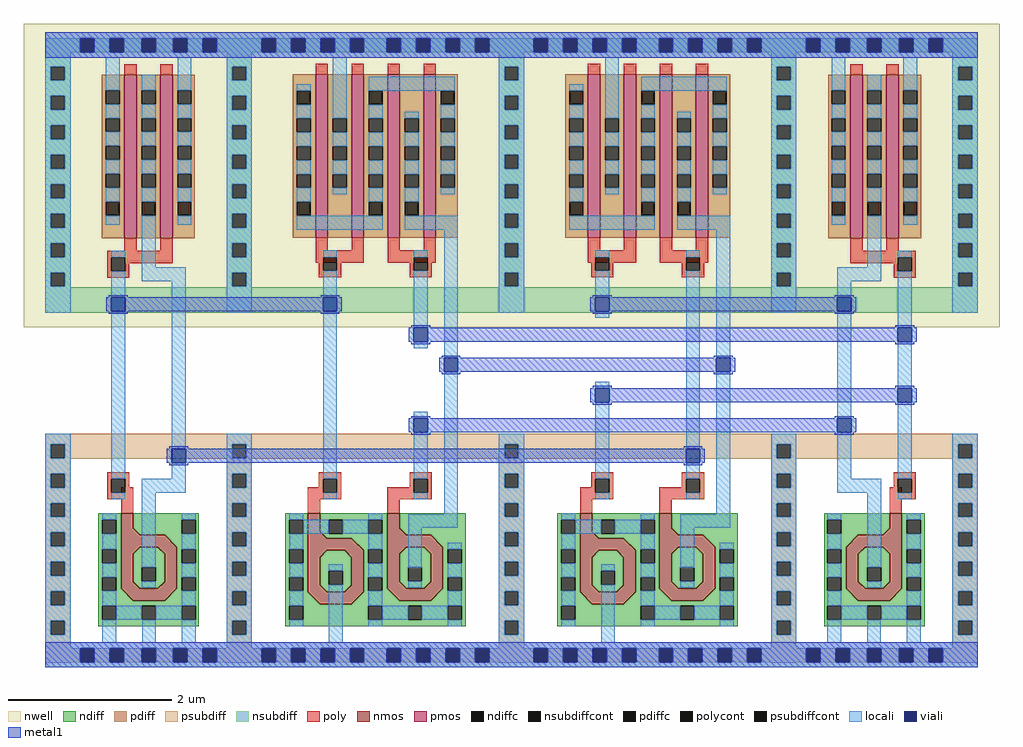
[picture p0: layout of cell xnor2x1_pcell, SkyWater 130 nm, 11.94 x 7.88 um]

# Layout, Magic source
magic
tech sky130A
magscale 1 2
<< nwell >>
rect 528 1554 1026 1575
rect 1194 1554 1692 1575
rect 475 1492 1079 1554
rect 1141 1492 1745 1554
rect 528 1486 1026 1492
rect 528 1015 539 1486
rect 585 1377 619 1411
rect 1015 1015 1026 1486
rect 528 832 1026 1015
rect 1194 1487 1692 1492
rect 1194 1015 1205 1487
rect 1681 1015 1692 1487
rect 1194 832 1692 1015
<< pdiffc >>
rect 585 1377 619 1411
rect 761 1377 795 1411
rect 937 1377 971 1411
rect 1251 1377 1285 1411
rect 1427 1377 1461 1411
rect 1603 1377 1637 1411
rect 585 1105 619 1139
rect 761 1105 795 1139
rect 849 1105 883 1139
rect 1251 1105 1285 1139
rect 1427 1105 1461 1139
rect 1515 1105 1549 1139
<< psubdiff >>
rect 475 510 1079 572
rect 1141 510 1745 572
rect 475 13 499 47
rect 533 13 571 47
rect 605 13 643 47
rect 677 13 715 47
rect 749 13 805 47
rect 839 13 877 47
rect 911 13 949 47
rect 983 13 1021 47
rect 1055 13 1079 47
rect 1141 13 1165 47
rect 1199 13 1237 47
rect 1271 13 1309 47
rect 1343 13 1381 47
rect 1415 13 1471 47
rect 1505 13 1543 47
rect 1577 13 1615 47
rect 1649 13 1687 47
rect 1721 13 1745 47
<< nsubdiff >>
rect 475 1505 499 1539
rect 533 1505 571 1539
rect 605 1505 643 1539
rect 677 1505 715 1539
rect 749 1505 805 1539
rect 839 1505 877 1539
rect 911 1505 949 1539
rect 983 1505 1021 1539
rect 1055 1505 1079 1539
rect 1141 1505 1165 1539
rect 1199 1505 1237 1539
rect 1271 1505 1309 1539
rect 1343 1505 1381 1539
rect 1415 1505 1471 1539
rect 1505 1505 1543 1539
rect 1577 1505 1615 1539
rect 1649 1505 1687 1539
rect 1721 1505 1745 1539
rect 475 868 1079 930
rect 1141 868 1745 930
<< psubdiffcont >>
rect 499 13 533 47
rect 571 13 605 47
rect 643 13 677 47
rect 715 13 749 47
rect 805 13 839 47
rect 877 13 911 47
rect 949 13 983 47
rect 1021 13 1055 47
rect 1165 13 1199 47
rect 1237 13 1271 47
rect 1309 13 1343 47
rect 1381 13 1415 47
rect 1471 13 1505 47
rect 1543 13 1577 47
rect 1615 13 1649 47
rect 1687 13 1721 47
<< nsubdiffcont >>
rect 499 1505 533 1539
rect 571 1505 605 1539
rect 643 1505 677 1539
rect 715 1505 749 1539
rect 805 1505 839 1539
rect 877 1505 911 1539
rect 949 1505 983 1539
rect 1021 1505 1055 1539
rect 1165 1505 1199 1539
rect 1237 1505 1271 1539
rect 1309 1505 1343 1539
rect 1381 1505 1415 1539
rect 1471 1505 1505 1539
rect 1543 1505 1577 1539
rect 1615 1505 1649 1539
rect 1687 1505 1721 1539
<< poly >>
rect 612 411 639 441
rect 806 411 861 441
rect 1278 411 1305 441
rect 1472 411 1527 441
rect 612 403 642 411
rect 806 410 836 411
rect 1278 403 1308 411
rect 1472 410 1502 411
<< locali >>
rect 475 1539 1079 1554
rect 475 1505 499 1539
rect 533 1505 571 1539
rect 605 1505 643 1539
rect 677 1505 715 1539
rect 749 1505 805 1539
rect 839 1505 877 1539
rect 911 1505 949 1539
rect 983 1505 1021 1539
rect 1055 1505 1079 1539
rect 475 1492 1079 1505
rect 1141 1539 1745 1554
rect 1141 1505 1165 1539
rect 1199 1505 1237 1539
rect 1271 1505 1309 1539
rect 1343 1505 1381 1539
rect 1415 1505 1471 1539
rect 1505 1505 1543 1539
rect 1577 1505 1615 1539
rect 1649 1505 1687 1539
rect 1721 1505 1745 1539
rect 1141 1492 1745 1505
rect 585 1411 619 1427
rect 585 1359 619 1377
rect 673 1359 707 1492
rect 761 1411 971 1445
rect 761 1359 795 1377
rect 937 1359 971 1377
rect 1251 1411 1285 1427
rect 1251 1359 1285 1377
rect 1339 1359 1373 1492
rect 1427 1411 1637 1445
rect 1427 1359 1461 1377
rect 1603 1359 1637 1377
rect 585 1139 619 1157
rect 761 1139 795 1157
rect 585 1071 795 1105
rect 849 1139 883 1157
rect 1251 1139 1285 1157
rect 1427 1139 1461 1157
rect 849 1071 979 1105
rect 1251 1071 1461 1105
rect 1515 1139 1549 1157
rect 1515 1071 1645 1105
rect 649 475 683 954
rect 871 847 905 954
rect 871 477 905 617
rect 945 375 979 1071
rect 1315 905 1349 954
rect 1315 472 1349 634
rect 1537 476 1571 954
rect 1611 375 1645 1071
rect 857 341 979 375
rect 1523 341 1645 375
rect 857 244 891 341
rect 1523 244 1557 341
rect 663 62 697 202
rect 1329 62 1363 202
rect 475 47 1079 62
rect 475 13 499 47
rect 533 13 571 47
rect 605 13 643 47
rect 677 13 715 47
rect 749 13 805 47
rect 839 13 877 47
rect 911 13 949 47
rect 983 13 1021 47
rect 1055 13 1079 47
rect 475 0 1079 13
rect 1141 47 1745 62
rect 1141 13 1165 47
rect 1199 13 1237 47
rect 1271 13 1309 47
rect 1343 13 1381 47
rect 1415 13 1471 47
rect 1505 13 1543 47
rect 1577 13 1615 47
rect 1649 13 1687 47
rect 1721 13 1745 47
rect 1141 0 1745 13
<< viali >>
rect 499 1505 533 1539
rect 571 1505 605 1539
rect 643 1505 677 1539
rect 715 1505 749 1539
rect 805 1505 839 1539
rect 877 1505 911 1539
rect 949 1505 983 1539
rect 1021 1505 1055 1539
rect 1165 1505 1199 1539
rect 1237 1505 1271 1539
rect 1309 1505 1343 1539
rect 1381 1505 1415 1539
rect 1471 1505 1505 1539
rect 1543 1505 1577 1539
rect 1615 1505 1649 1539
rect 1687 1505 1721 1539
rect 499 13 533 47
rect 571 13 605 47
rect 643 13 677 47
rect 715 13 749 47
rect 805 13 839 47
rect 877 13 911 47
rect 949 13 983 47
rect 1021 13 1055 47
rect 1165 13 1199 47
rect 1237 13 1271 47
rect 1309 13 1343 47
rect 1381 13 1415 47
rect 1471 13 1505 47
rect 1543 13 1577 47
rect 1615 13 1649 47
rect 1687 13 1721 47
<< metal1 >>
rect 475 1539 1079 1554
rect 475 1505 499 1539
rect 533 1505 571 1539
rect 605 1505 643 1539
rect 677 1505 715 1539
rect 749 1505 805 1539
rect 839 1505 877 1539
rect 911 1505 949 1539
rect 983 1505 1021 1539
rect 1055 1505 1079 1539
rect 475 1492 1079 1505
rect 1141 1539 1745 1554
rect 1141 1505 1165 1539
rect 1199 1505 1237 1539
rect 1271 1505 1309 1539
rect 1343 1505 1381 1539
rect 1415 1505 1471 1539
rect 1505 1505 1543 1539
rect 1577 1505 1615 1539
rect 1649 1505 1687 1539
rect 1721 1505 1745 1539
rect 1141 1492 1745 1505
rect 187 871 623 905
rect 1368 871 1905 905
rect 939 797 2022 831
rect 981 723 1586 757
rect 1372 649 2053 683
rect 905 575 1882 609
rect 315 501 1512 535
rect 475 47 1079 62
rect 475 13 499 47
rect 533 13 571 47
rect 605 13 643 47
rect 677 13 715 47
rect 749 13 805 47
rect 839 13 877 47
rect 911 13 949 47
rect 983 13 1021 47
rect 1055 13 1079 47
rect 475 0 1079 13
rect 1141 47 1745 62
rect 1141 13 1165 47
rect 1199 13 1237 47
rect 1271 13 1309 47
rect 1343 13 1381 47
rect 1415 13 1471 47
rect 1505 13 1543 47
rect 1577 13 1615 47
rect 1649 13 1687 47
rect 1721 13 1745 47
rect 1141 0 1745 13
use li1_M1_contact  li1_M1_contact_4
transform -1 0 296 0 -1 518
box -53 -33 29 33
use li1_M1_contact  li1_M1_contact_1
transform -1 0 148 0 -1 888
box -53 -33 29 33
use invx1_pcell  invx1_pcell_0
transform 1 0 0 0 1 0
box -84 0 528 1575
use diff_ring_side  diff_ring_side_1
transform 1 0 444 0 1 0
box -84 0 84 1575
use poly_li1_contact  poly_li1_contact_0
transform 0 1 667 -1 0 988
box -32 -28 34 26
use poly_li1_contact  poly_li1_contact_1
transform 0 1 667 -1 0 445
box -32 -28 34 26
use nmos_top_trim1  nmos_top_trim1_0
transform -1 0 998 0 1 101
box 0 0 248 309
use nmos_bottom  nmos_bottom_0
transform -1 0 804 0 1 101
box 0 0 248 302
use pmos2_1  pmos2_1_0
transform 1 0 487 0 1 1450
box 52 -460 352 37
use pmos2_1  pmos2_1_1
transform 1 0 663 0 1 1450
box 52 -460 352 37
use li1_M1_contact  li1_M1_contact_0
transform 1 0 666 0 1 888
box -53 -33 29 33
use li1_M1_contact  li1_M1_contact_3
transform -1 0 888 0 -1 814
box -53 -33 29 33
use diff_ring_side  diff_ring_side_0
transform 1 0 1110 0 1 0
box -84 0 84 1575
use poly_li1_contact  poly_li1_contact_3
transform 0 1 889 -1 0 988
box -32 -28 34 26
use poly_li1_contact  poly_li1_contact_2
transform 0 1 889 -1 0 445
box -32 -28 34 26
use li1_M1_contact  li1_M1_contact_7
transform -1 0 962 0 -1 740
box -53 -33 29 33
use li1_M1_contact  li1_M1_contact_9
transform -1 0 888 0 -1 592
box -53 -33 29 33
use li1_M1_contact  li1_M1_contact_11
transform -1 0 1332 0 -1 666
box -53 -33 29 33
use li1_M1_contact  li1_M1_contact_6
transform -1 0 1332 0 -1 888
box -53 -33 29 33
use poly_li1_contact  poly_li1_contact_5
transform 0 1 1333 -1 0 988
box -32 -28 34 26
use poly_li1_contact  poly_li1_contact_4
transform 0 1 1333 -1 0 445
box -32 -28 34 26
use nmos_top_trim1  nmos_top_trim1_1
transform -1 0 1664 0 1 101
box 0 0 248 309
use nmos_bottom  nmos_bottom_1
transform -1 0 1470 0 1 101
box 0 0 248 302
use pmos2_1  pmos2_1_3
transform 1 0 1329 0 1 1450
box 52 -460 352 37
use pmos2_1  pmos2_1_2
transform 1 0 1153 0 1 1450
box 52 -460 352 37
use diff_ring_side  diff_ring_side_3
transform 1 0 1776 0 1 0
box -84 0 84 1575
use poly_li1_contact  poly_li1_contact_7
transform 0 1 1555 -1 0 988
box -32 -28 34 26
use poly_li1_contact  poly_li1_contact_6
transform 0 1 1555 -1 0 445
box -32 -28 34 26
use li1_M1_contact  li1_M1_contact_8
transform 1 0 1628 0 1 740
box -53 -33 29 33
use li1_M1_contact  li1_M1_contact_5
transform 1 0 1554 0 1 518
box -53 -33 29 33
use invx1_pcell  invx1_pcell_1
transform -1 0 2220 0 1 0
box -84 0 528 1575
use li1_M1_contact  li1_M1_contact_13
transform 1 0 2072 0 1 666
box -53 -33 29 33
use li1_M1_contact  li1_M1_contact_12
transform 1 0 1924 0 1 888
box -53 -33 29 33
use li1_M1_contact  li1_M1_contact_10
transform 1 0 2072 0 1 814
box -53 -33 29 33
use li1_M1_contact  li1_M1_contact_2
transform 1 0 1924 0 1 592
box -53 -33 29 33
<< end >>

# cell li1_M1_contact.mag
magic
tech sky130
magscale 1 2
<< locali >>
rect -17 17 17 33
rect -17 -33 17 -17
<< viali >>
rect -17 -17 17 17
<< metal1 >>
rect -23 17 23 23
rect -53 -17 -17 17
rect 17 -17 29 17
rect -23 -23 23 -17
<< end >>

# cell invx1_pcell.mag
magic
tech sky130A
magscale 1 2
<< nwell >>
rect 84 1539 360 1575
rect 55 1505 360 1539
rect 84 832 360 1505
<< pdiffc >>
rect 117 1105 151 1139
rect 205 1105 239 1139
rect 293 1105 327 1139
<< psubdiff >>
rect 31 510 413 572
rect 31 13 55 47
rect 89 13 127 47
rect 161 13 205 47
rect 239 13 283 47
rect 317 13 355 47
rect 389 13 413 47
<< nsubdiff >>
rect 31 1505 55 1539
rect 89 1505 127 1539
rect 161 1505 205 1539
rect 239 1505 283 1539
rect 317 1505 355 1539
rect 389 1505 413 1539
rect 31 868 413 930
<< psubdiffcont >>
rect 55 13 89 47
rect 127 13 161 47
rect 205 13 239 47
rect 283 13 317 47
rect 355 13 389 47
<< nsubdiffcont >>
rect 55 1505 89 1539
rect 127 1505 161 1539
rect 205 1505 239 1539
rect 283 1505 317 1539
rect 355 1505 389 1539
<< poly >>
rect 155 409 185 441
<< locali >>
rect 31 1539 413 1554
rect 31 1505 55 1539
rect 89 1505 127 1539
rect 161 1505 205 1539
rect 239 1505 283 1539
rect 317 1505 355 1539
rect 389 1505 413 1539
rect 31 1492 413 1505
rect 117 1139 151 1157
rect 117 1083 151 1105
rect 205 1139 239 1157
rect 205 979 239 1105
rect 293 1139 327 1157
rect 293 1083 327 1105
rect 131 477 165 954
rect 205 945 313 979
rect 279 461 313 945
rect 205 427 313 461
rect 205 261 239 427
rect 109 62 143 101
rect 206 62 240 117
rect 303 62 337 101
rect 31 47 413 62
rect 31 13 55 47
rect 89 13 127 47
rect 161 13 205 47
rect 239 13 283 47
rect 317 13 355 47
rect 389 13 413 47
rect 31 0 413 13
<< viali >>
rect 55 1505 89 1539
rect 127 1505 161 1539
rect 205 1505 239 1539
rect 283 1505 317 1539
rect 355 1505 389 1539
rect 55 13 89 47
rect 127 13 161 47
rect 205 13 239 47
rect 283 13 317 47
rect 355 13 389 47
<< metal1 >>
rect 31 1539 413 1554
rect 31 1505 55 1539
rect 89 1505 127 1539
rect 161 1505 205 1539
rect 239 1505 283 1539
rect 317 1505 355 1539
rect 389 1505 413 1539
rect 31 1492 413 1505
rect 31 47 413 62
rect 31 13 55 47
rect 89 13 127 47
rect 161 13 205 47
rect 239 13 283 47
rect 317 13 355 47
rect 389 13 413 47
rect 31 0 413 13
use nmos_top  nmos_top_0
transform -1 0 345 0 1 101
box 0 0 246 308
use poly_li1_contact  poly_li1_contact_0
transform 0 1 149 -1 0 987
box -32 -28 34 26
use poly_li1_contact  poly_li1_contact_1
transform 0 -1 147 1 0 443
box -32 -28 34 26
use pmos2  pmos2_0
transform 1 0 19 0 1 1450
box 52 -461 352 42
use diff_ring_side  diff_ring_side_1
transform 1 0 0 0 1 0
box -84 0 84 1575
use diff_ring_side  diff_ring_side_0
transform 1 0 444 0 1 0
box -84 0 84 1575
<< end >>

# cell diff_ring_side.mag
magic
tech sky130A
magscale 1 2
<< nwell >>
rect -84 832 84 1575
<< psubdiff >>
rect -31 546 31 572
rect -31 512 -17 546
rect 17 512 31 546
rect -31 474 31 512
rect -31 440 -17 474
rect 17 440 31 474
rect -31 402 31 440
rect -31 368 -17 402
rect 17 368 31 402
rect -31 330 31 368
rect -31 296 -17 330
rect 17 296 31 330
rect -31 258 31 296
rect -31 224 -17 258
rect 17 224 31 258
rect -31 186 31 224
rect -31 152 -17 186
rect 17 152 31 186
rect -31 114 31 152
rect -31 80 -17 114
rect 17 80 31 114
rect -31 11 31 80
<< nsubdiff >>
rect -31 1470 31 1539
rect -31 1436 -17 1470
rect 17 1436 31 1470
rect -31 1398 31 1436
rect -31 1364 -17 1398
rect 17 1364 31 1398
rect -31 1326 31 1364
rect -31 1292 -17 1326
rect 17 1292 31 1326
rect -31 1254 31 1292
rect -31 1220 -17 1254
rect 17 1220 31 1254
rect -31 1182 31 1220
rect -31 1148 -17 1182
rect 17 1148 31 1182
rect -31 1110 31 1148
rect -31 1076 -17 1110
rect 17 1076 31 1110
rect -31 1038 31 1076
rect -31 1004 -17 1038
rect 17 1004 31 1038
rect -31 966 31 1004
rect -31 932 -17 966
rect 17 932 31 966
rect -31 868 31 932
<< psubdiffcont >>
rect -17 512 17 546
rect -17 440 17 474
rect -17 368 17 402
rect -17 296 17 330
rect -17 224 17 258
rect -17 152 17 186
rect -17 80 17 114
<< nsubdiffcont >>
rect -17 1436 17 1470
rect -17 1364 17 1398
rect -17 1292 17 1326
rect -17 1220 17 1254
rect -17 1148 17 1182
rect -17 1076 17 1110
rect -17 1004 17 1038
rect -17 932 17 966
<< locali >>
rect -31 1470 31 1554
rect -31 1436 -17 1470
rect 17 1436 31 1470
rect -31 1398 31 1436
rect -31 1364 -17 1398
rect 17 1364 31 1398
rect -31 1326 31 1364
rect -31 1292 -17 1326
rect 17 1292 31 1326
rect -31 1254 31 1292
rect -31 1220 -17 1254
rect 17 1220 31 1254
rect -31 1182 31 1220
rect -31 1148 -17 1182
rect 17 1148 31 1182
rect -31 1110 31 1148
rect -31 1076 -17 1110
rect 17 1076 31 1110
rect -31 1038 31 1076
rect -31 1004 -17 1038
rect 17 1004 31 1038
rect -31 966 31 1004
rect -31 932 -17 966
rect 17 932 31 966
rect -31 868 31 932
rect -31 546 31 572
rect -31 512 -17 546
rect 17 512 31 546
rect -31 474 31 512
rect -31 440 -17 474
rect 17 440 31 474
rect -31 402 31 440
rect -31 368 -17 402
rect 17 368 31 402
rect -31 330 31 368
rect -31 296 -17 330
rect 17 296 31 330
rect -31 258 31 296
rect -31 224 -17 258
rect 17 224 31 258
rect -31 186 31 224
rect -31 152 -17 186
rect 17 152 31 186
rect -31 114 31 152
rect -31 80 -17 114
rect 17 80 31 114
rect -31 0 31 80
<< metal1 >>
rect -31 1492 31 1554
rect -31 0 31 62
<< end >>

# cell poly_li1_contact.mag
magic
tech sky130A
<< poly >>
rect -16 8 17 13
rect -16 -9 -8 8
rect 9 -9 17 8
rect -16 -14 17 -9
<< polycont >>
rect -8 -9 9 8
<< locali >>
rect -16 -9 -8 8
rect 9 -9 17 8
<< end >>

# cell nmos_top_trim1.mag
magic
tech sky130A
magscale 1 2
<< nmos >>
tri 146 223 162 239 se
rect 162 223 192 276
tri 56 193 86 223 se
rect 86 193 192 223
rect 56 92 86 193
tri 86 177 102 193 nw
tri 146 177 162 193 ne
tri 86 92 102 108 sw
tri 146 92 162 108 se
rect 162 92 192 193
tri 56 62 86 92 ne
rect 86 62 162 92
tri 162 62 192 92 nw
<< ndiff >>
rect 0 239 162 276
rect 0 223 146 239
tri 146 223 162 239 nw
rect 192 260 248 276
rect 192 226 204 260
rect 238 226 248 260
rect 0 188 56 223
tri 56 193 86 223 nw
rect 0 154 10 188
rect 44 154 56 188
rect 0 120 56 154
rect 0 86 10 120
rect 44 86 56 120
tri 86 177 102 193 se
rect 102 177 146 193
tri 146 177 162 193 sw
rect 86 144 162 177
rect 86 110 107 144
rect 141 110 162 144
rect 86 108 162 110
tri 86 92 102 108 ne
rect 102 92 146 108
tri 146 92 162 108 nw
rect 192 188 248 226
rect 192 154 204 188
rect 238 154 248 188
rect 192 120 248 154
rect 0 62 56 86
tri 56 62 86 92 sw
tri 162 62 192 92 se
rect 192 86 204 120
rect 238 86 248 120
rect 192 62 248 86
rect 0 50 248 62
rect 0 16 10 50
rect 44 16 107 50
rect 141 16 204 50
rect 238 16 248 50
rect 0 0 248 16
<< ndiffc >>
rect 204 226 238 260
rect 10 154 44 188
rect 10 86 44 120
rect 107 110 141 144
rect 204 154 238 188
rect 204 86 238 120
rect 10 16 44 50
rect 107 16 141 50
rect 204 16 238 50
<< poly >>
rect 162 276 192 309
<< locali >>
rect 204 260 238 276
rect 10 188 44 204
rect 204 188 238 226
rect 10 120 44 154
rect 107 144 141 161
rect 107 94 141 110
rect 204 120 238 154
rect 10 50 44 86
rect 204 50 238 86
rect 44 16 107 50
rect 141 16 204 50
rect 10 0 44 16
rect 204 0 238 16
<< end >>

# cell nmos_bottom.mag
magic
tech sky130A
magscale 1 2
<< nmos >>
tri 146 215 162 231 se
rect 162 215 192 276
tri 56 185 86 215 se
rect 86 185 192 215
rect 56 84 86 185
tri 86 169 102 185 nw
tri 146 169 162 185 ne
tri 86 84 102 100 sw
tri 146 84 162 100 se
rect 162 84 192 185
tri 56 54 86 84 ne
rect 86 54 162 84
tri 162 54 192 84 nw
<< ndiff >>
rect 0 260 162 276
rect 0 226 10 260
rect 44 226 107 260
rect 141 231 162 260
rect 141 226 146 231
rect 0 215 146 226
tri 146 215 162 231 nw
rect 192 260 248 276
rect 192 226 204 260
rect 238 226 248 260
rect 0 188 56 215
rect 0 154 10 188
rect 44 154 56 188
tri 56 185 86 215 nw
rect 192 188 248 226
rect 0 120 56 154
rect 0 86 10 120
rect 44 86 56 120
rect 0 54 56 86
tri 86 169 102 185 se
rect 102 169 146 185
tri 146 169 162 185 sw
rect 86 135 162 169
rect 86 101 107 135
rect 141 101 162 135
rect 86 100 162 101
tri 86 84 102 100 ne
rect 102 84 146 100
tri 146 84 162 100 nw
rect 192 154 204 188
rect 238 154 248 188
rect 192 120 248 154
rect 192 86 204 120
rect 238 86 248 120
tri 56 54 86 84 sw
tri 162 54 192 84 se
rect 192 54 248 86
rect 0 50 248 54
rect 0 16 10 50
rect 44 16 204 50
rect 238 16 248 50
rect 0 0 248 16
<< ndiffc >>
rect 10 226 44 260
rect 107 226 141 260
rect 204 226 238 260
rect 10 154 44 188
rect 10 86 44 120
rect 107 101 141 135
rect 204 154 238 188
rect 204 86 238 120
rect 10 16 44 50
rect 204 16 238 50
<< poly >>
rect 162 276 192 302
<< locali >>
rect 10 260 44 276
rect 204 260 238 276
rect 44 226 107 260
rect 141 226 204 260
rect 10 188 44 226
rect 10 120 44 154
rect 204 188 238 226
rect 10 50 44 86
rect 107 135 141 151
rect 107 85 141 101
rect 204 120 238 154
rect 10 0 44 16
rect 204 50 238 86
rect 204 0 238 16
<< end >>

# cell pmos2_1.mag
magic
tech sky130
magscale 1 2
<< nwell >>
rect 52 -435 352 37
<< pmos >>
rect 144 -399 174 1
rect 232 -399 262 1
<< pdiff >>
rect 88 -107 144 1
rect 88 -141 98 -107
rect 132 -141 144 -107
rect 88 -175 144 -141
rect 88 -209 98 -175
rect 132 -209 144 -175
rect 88 -243 144 -209
rect 88 -277 98 -243
rect 132 -277 144 -243
rect 88 -399 144 -277
rect 174 -107 232 1
rect 174 -141 186 -107
rect 220 -141 232 -107
rect 174 -175 232 -141
rect 174 -209 186 -175
rect 220 -209 232 -175
rect 174 -243 232 -209
rect 174 -277 186 -243
rect 220 -277 232 -243
rect 174 -399 232 -277
rect 262 -107 316 1
rect 262 -141 274 -107
rect 308 -141 316 -107
rect 262 -175 316 -141
rect 262 -209 274 -175
rect 308 -209 316 -175
rect 262 -243 316 -209
rect 262 -277 274 -243
rect 308 -277 316 -243
rect 262 -399 316 -277
<< pdiffc >>
rect 98 -141 132 -107
rect 98 -209 132 -175
rect 98 -277 132 -243
rect 186 -141 220 -107
rect 186 -209 220 -175
rect 186 -277 220 -243
rect 274 -141 308 -107
rect 274 -209 308 -175
rect 274 -277 308 -243
<< poly >>
rect 144 1 174 27
rect 232 1 262 27
rect 144 -430 174 -399
rect 232 -430 262 -399
rect 144 -460 262 -430
<< locali >>
rect 98 -107 132 -91
rect 98 -175 132 -141
rect 98 -243 132 -209
rect 98 -293 132 -277
rect 186 -107 220 -91
rect 186 -175 220 -141
rect 186 -243 220 -209
rect 186 -293 220 -277
rect 274 -107 308 -91
rect 274 -175 308 -141
rect 274 -243 308 -209
rect 274 -293 308 -277
<< end >>

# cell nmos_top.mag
magic
tech sky130A
magscale 1 2
<< nmos >>
tri 144 223 160 239 se
rect 160 223 190 276
tri 54 193 84 223 se
rect 84 193 190 223
rect 54 92 84 193
tri 84 177 100 193 nw
tri 144 177 160 193 ne
tri 84 92 100 108 sw
tri 144 92 160 108 se
rect 160 92 190 193
tri 54 62 84 92 ne
rect 84 62 160 92
tri 160 62 190 92 nw
<< ndiff >>
rect 0 260 160 276
rect 0 226 8 260
rect 42 239 160 260
rect 42 226 144 239
rect 0 223 144 226
tri 144 223 160 239 nw
rect 190 260 246 276
rect 190 226 202 260
rect 236 226 246 260
rect 0 188 54 223
tri 54 193 84 223 nw
rect 0 154 8 188
rect 42 154 54 188
rect 0 120 54 154
rect 0 86 8 120
rect 42 86 54 120
tri 84 177 100 193 se
rect 100 177 144 193
tri 144 177 160 193 sw
rect 84 144 160 177
rect 84 110 106 144
rect 140 110 160 144
rect 84 108 160 110
tri 84 92 100 108 ne
rect 100 92 144 108
tri 144 92 160 108 nw
rect 190 188 246 226
rect 190 154 202 188
rect 236 154 246 188
rect 190 120 246 154
rect 0 62 54 86
tri 54 62 84 92 sw
tri 160 62 190 92 se
rect 190 86 202 120
rect 236 86 246 120
rect 190 62 246 86
rect 0 50 246 62
rect 0 16 8 50
rect 42 16 106 50
rect 140 16 202 50
rect 236 16 246 50
rect 0 0 246 16
<< ndiffc >>
rect 8 226 42 260
rect 202 226 236 260
rect 8 154 42 188
rect 8 86 42 120
rect 106 110 140 144
rect 202 154 236 188
rect 202 86 236 120
rect 8 16 42 50
rect 106 16 140 50
rect 202 16 236 50
<< poly >>
rect 160 276 190 308
<< locali >>
rect 8 260 42 276
rect 8 188 42 226
rect 202 260 236 276
rect 202 188 236 226
rect 8 120 42 154
rect 106 144 140 161
rect 106 94 140 110
rect 202 120 236 154
rect 8 50 42 86
rect 202 50 236 86
rect 42 16 106 50
rect 140 16 202 50
rect 8 0 42 16
rect 202 0 236 16
<< end >>

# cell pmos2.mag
magic
tech sky130
magscale 1 2
<< nwell >>
rect 52 -436 352 36
<< pmos >>
rect 144 -400 174 0
rect 232 -400 262 0
<< pdiff >>
rect 88 -38 144 0
rect 88 -72 98 -38
rect 132 -72 144 -38
rect 88 -106 144 -72
rect 88 -140 98 -106
rect 132 -140 144 -106
rect 88 -174 144 -140
rect 88 -208 98 -174
rect 132 -208 144 -174
rect 88 -242 144 -208
rect 88 -276 98 -242
rect 132 -276 144 -242
rect 88 -400 144 -276
rect 174 -38 232 0
rect 174 -72 186 -38
rect 220 -72 232 -38
rect 174 -106 232 -72
rect 174 -140 186 -106
rect 220 -140 232 -106
rect 174 -174 232 -140
rect 174 -208 186 -174
rect 220 -208 232 -174
rect 174 -242 232 -208
rect 174 -276 186 -242
rect 220 -276 232 -242
rect 174 -400 232 -276
rect 262 -38 316 0
rect 262 -72 274 -38
rect 308 -72 316 -38
rect 262 -106 316 -72
rect 262 -140 274 -106
rect 308 -140 316 -106
rect 262 -174 316 -140
rect 262 -208 274 -174
rect 308 -208 316 -174
rect 262 -242 316 -208
rect 262 -276 274 -242
rect 308 -276 316 -242
rect 262 -400 316 -276
<< pdiffc >>
rect 98 -72 132 -38
rect 98 -140 132 -106
rect 98 -208 132 -174
rect 98 -276 132 -242
rect 186 -72 220 -38
rect 186 -140 220 -106
rect 186 -208 220 -174
rect 186 -276 220 -242
rect 274 -72 308 -38
rect 274 -140 308 -106
rect 274 -208 308 -174
rect 274 -276 308 -242
<< poly >>
rect 144 0 174 26
rect 232 0 262 26
rect 144 -431 174 -400
rect 232 -431 262 -400
rect 144 -461 262 -431
<< locali >>
rect 98 -38 132 42
rect 98 -106 132 -72
rect 98 -174 132 -140
rect 98 -242 132 -208
rect 98 -293 132 -276
rect 186 -38 220 0
rect 186 -106 220 -72
rect 186 -174 220 -140
rect 186 -242 220 -208
rect 186 -293 220 -276
rect 274 -38 308 42
rect 274 -106 308 -72
rect 274 -174 308 -140
rect 274 -242 308 -208
rect 274 -293 308 -276
<< end >>
